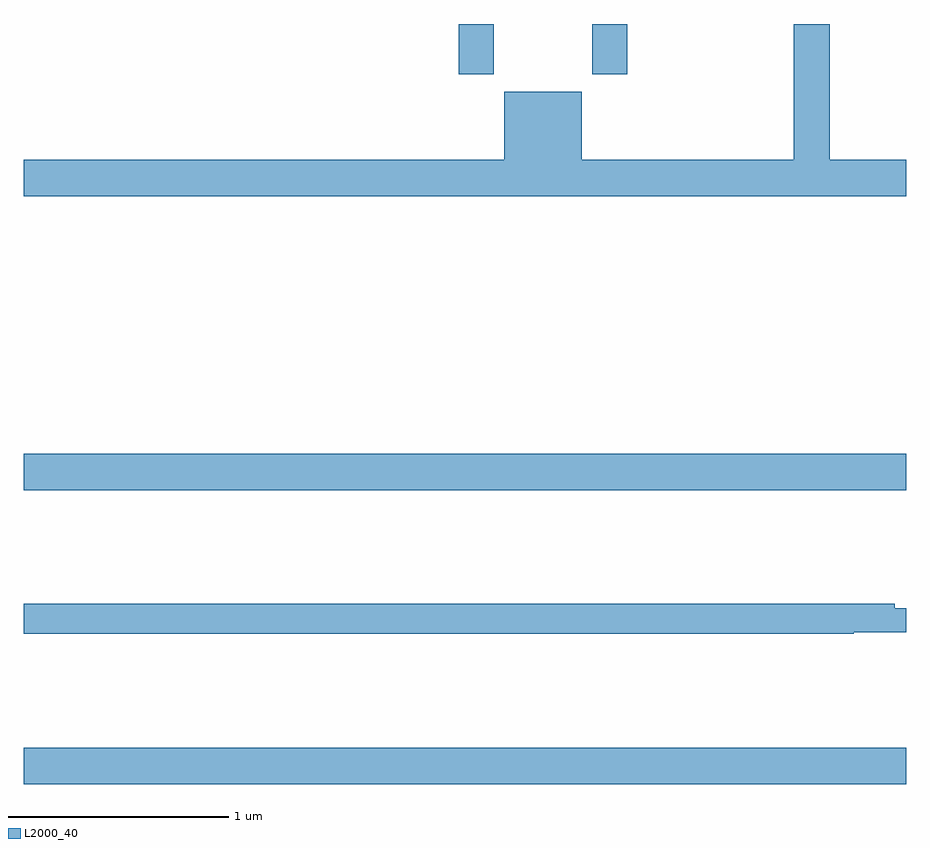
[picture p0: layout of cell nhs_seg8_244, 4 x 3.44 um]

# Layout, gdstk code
import gdstk
lib = gdstk.Library(unit=1e-6, precision=1e-09)
def R(c, l, rs):  # rectangles x0, y0, x1, y1
    for r in rs: c.add(gdstk.rectangle(r[:2], r[2:], *l))
def P(c, l, *ps):  # polygons
    for p in ps: c.add(gdstk.Polygon(p, *l))
L2000_40 = (2000, 40)

nhs_seg8_244 = lib.new_cell('nhs_seg8_244')
R(nhs_seg8_244, L2000_40, [(125,1160.456,129,1160.62), (125,1161.788,129,1161.952), (126.971,1163.673,127.131,1163.9), (127.576,1163.673,127.736,1163.9)])
P(nhs_seg8_244, L2000_40, [(129,1163.284),(128.653,1163.284),(128.653,1163.899),(128.489,1163.899),(128.489,1163.284),(127.528,1163.284),(127.528,1163.593),(127.178,1163.593),(127.178,1163.284),(125,1163.284),(125,1163.12),(129,1163.12)],
  [(128.762,1161.144),(129,1161.144),(129,1161.253),(128.948,1161.253),(128.948,1161.272),(125,1161.272),(125,1161.136),(128.762,1161.136)])

lib.write_gds('nhs_seg8_244.gds')
